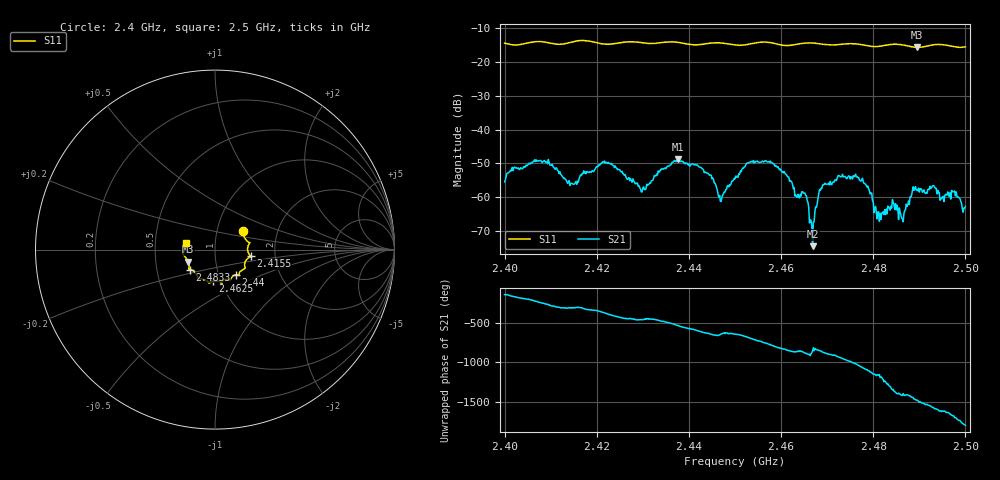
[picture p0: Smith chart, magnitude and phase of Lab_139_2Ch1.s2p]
# Hz S RI R 50
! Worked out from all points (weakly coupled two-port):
!   601 points, 2.4 GHz to 2.5 GHz, reference 50 ohm
!   highest |S21| = -48.71 dB at 2.4377 GHz (marker M1); lowest = -74.4 dB at 2.4668 GHz (marker M2)
!   lowest |S11| = -15.7 dB at 2.4895 GHz (marker M3), VSWR 1.39, Z = 36.8 - j5.11 ohm
!   |S11| at or under -10 dB: start of sweep to end of sweep
!   S12 and S22 are empty: the file has one direction only
!   S11 on the Smith chart (normalised r, x): 2.4 GHz: 1.33, +0.29; 2.4155 GHz: 1.49, -0.11; 2.44 GHz: 1.21, -0.35; 2.4625 GHz: 0.92, -0.34; 2.4833 GHz: 0.74, -0.17; 2.5 GHz: 0.72, +0.06
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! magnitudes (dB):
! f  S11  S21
! 2.4 GHz  -14.5  -55.5
! 2.4073 GHz  -14.0  -49.2
! 2.4155 GHz  -13.9  -55.3
! 2.4167 GHz  -13.7  -53.5
! 2.4222 GHz  -14.8  -49.8
! 2.4302 GHz  -14.4  -56.9
! 2.4333 GHz  -14.4  -52.2
! 2.4377 GHz  -14.2  -48.7
! 2.44 GHz  -14.8  -50.2
! 2.4468 GHz  -14.4  -61.2
! 2.45 GHz  -15.0  -54.6
! 2.4572 GHz  -14.2  -49.6
! 2.4625 GHz  -15.0  -56.4
! 2.4653 GHz  -14.5  -59.4
! 2.4667 GHz  -14.4  -68.4
! 2.4668 GHz  -14.4  -74.4
! 2.4688 GHz  -14.8  -57.4
! 2.4728 GHz  -14.9  -53.9
! 2.4833 GHz  -15.0  -62.8
! 2.4865 GHz  -15.0  -67.2
! 2.4895 GHz  -15.7  -57.9
! 2.5 GHz  -15.6  -62.8
